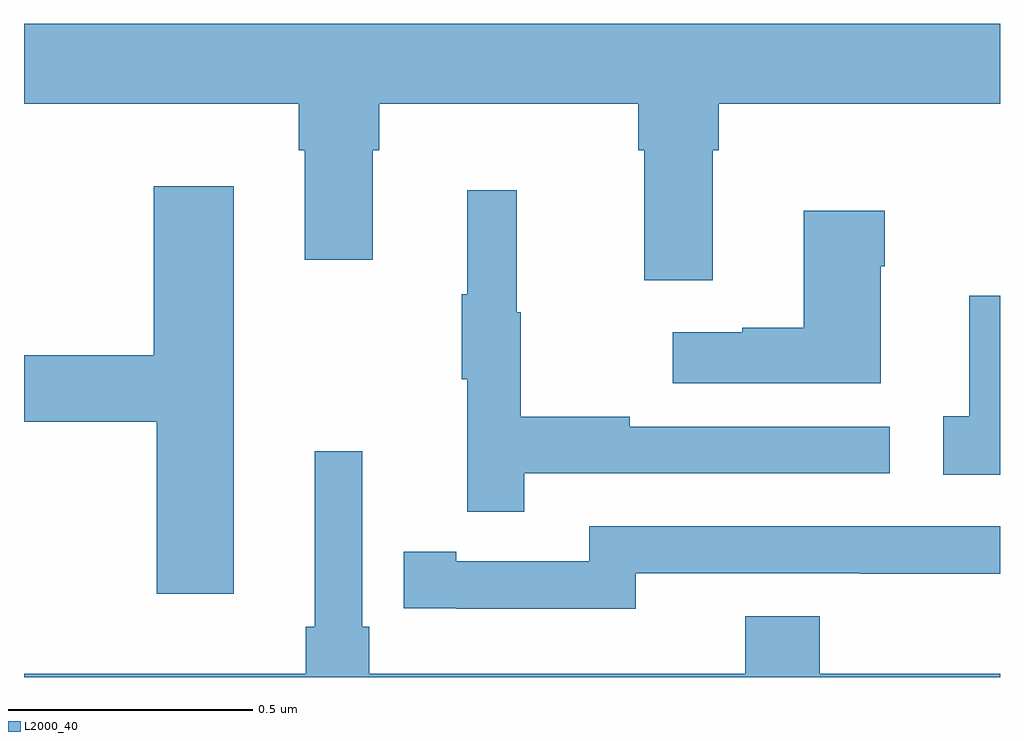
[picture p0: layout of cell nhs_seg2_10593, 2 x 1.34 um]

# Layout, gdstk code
import gdstk
lib = gdstk.Library(unit=1e-6, precision=1e-09)
def P(c, l, *ps):  # polygons
    for p in ps: c.add(gdstk.Polygon(p, *l))
L2000_40 = (2000, 40)

nhs_seg2_10593 = lib.new_cell('nhs_seg2_10593')
P(nhs_seg2_10593, L2000_40, [(244.411,640.88),(244.424,640.88),(244.424,640.976),(245,640.976),(245,641.14),(243,641.14),(243,640.976),(243.563,640.976),(243.563,640.88),(243.575,640.88),(243.575,640.656),(243.715,640.656),(243.715,640.88),(243.728,640.88),(243.728,640.976),(244.259,640.976),(244.259,640.88),(244.271,640.88),(244.271,640.614),(244.411,640.614)],
  [(243.43,640.807),(243.266,640.807),(243.266,640.46),(243,640.46),(243,640.324),(243.272,640.324),(243.272,639.972),(243.43,639.972)],
  [(244.025,640.218),(244.774,640.218),(244.774,640.314),(244.241,640.314),(244.241,640.334),(244.018,640.334),(244.018,640.548),(244.01,640.548),(244.01,640.798),(243.908,640.798),(243.908,640.585),(243.897,640.585),(243.897,640.411),(243.908,640.411),(243.908,640.14),(244.025,640.14)],
  [(244.756,640.643),(244.764,640.643),(244.764,640.756),(244.598,640.756),(244.598,640.517),(244.472,640.517),(244.472,640.507),(244.329,640.507),(244.329,640.403),(244.756,640.403)],
  [(245,640.582),(244.937,640.582),(244.937,640.335),(244.884,640.335),(244.884,640.215),(245,640.215)],
  [(245,639.808),(244.631,639.808),(244.631,639.925),(244.478,639.925),(244.478,639.808),(243.707,639.808),(243.707,639.904),(243.693,639.904),(243.693,640.264),(243.596,640.264),(243.596,639.904),(243.577,639.904),(243.577,639.808),(243,639.808),(243,639.8),(245,639.8)],
  [(244.254,640.014),(244.714,640.014),(244.714,640.013),(245,640.013),(245,640.11),(244.158,640.11),(244.158,640.038),(243.886,640.038),(243.886,640.058),(243.778,640.058),(243.778,639.942),(243.886,639.942),(243.886,639.941),(244.254,639.941)])

lib.write_gds('nhs_seg2_10593.gds')
